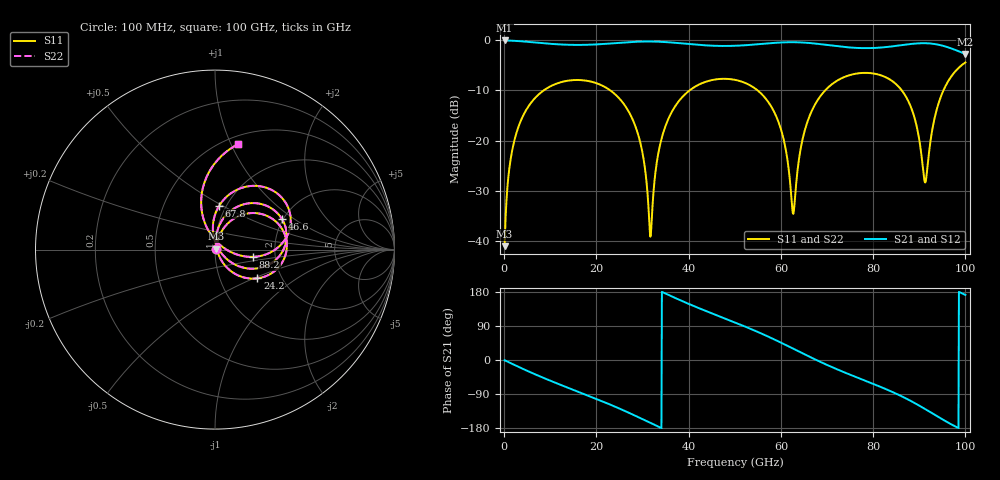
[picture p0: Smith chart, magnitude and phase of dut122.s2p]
! Touchstone file exported from HFSS 2026.1.0
!  File:  C:/ffzhzh/LocalFiles/Ansys_Project_Files/temp_train_TSV_RDL_122_1783637564_29156.aedt
!  Generated:  06:58:43 AM Jul 10, 2026
!  Design:  TSV_RDL
!  Project:  temp_train_TSV_RDL_122_1783637564_29156
! Variables:
!  h_bsmrdl = 3.29um
!  h_ox = 20um
!  h_rdl = 5um
!  h_sub = 83.32um
!  h_tmrdl = 4.33um
!  h_tsv = 83.32um
!  h_via = 3um
!  l_bsmrdl = 126.83um
!  l_sub = 1567.1um
!  l_tmrdl = 169.72um
!  m_sub = 200um
!  pitch = 42.46um
!  r_tsv = 8.81um
!  s_tmrdl = 10um
!  w_bsmrdl = 21.2um
!  w_sub = 500um
!  w_tmrdl = 14.71um
!  x_tsv_center1 = 177.075um
!  x_tsv_center2 = 325.105um
!  x_tsv_center3 = 509.535um
!  x_tsv_center4 = 657.565um
!  x_tsv_center5 = 841.995um
!  x_tsv_center6 = 990.025um
# GHz S MA R 50.000000
! Terminal data exported
! Port[1] = TM_RDL1_1_T1
! Port[2] = TM_RDL5_1_T1
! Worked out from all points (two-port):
!   1000 points, 100 MHz to 100 GHz, reference 50 ohm
!   highest |S21| = -0.06 dB at 100 MHz (marker M1); lowest = -2.8 dB at 100 GHz (marker M2)
!   |S21| within 3 dB of the highest: start of sweep to end of sweep
!   lowest |S11| = -41.0 dB at 100 MHz (marker M3), VSWR 1.02, Z = 50.7 + j0.499 ohm
!   |S11| at or under -10 dB: 23.01 GHz to 40.21 GHz (17.19 GHz wide, 54.4 % of centre); 54.95 GHz to 69.6 GHz (14.65 GHz wide, 23.5 % of centre); 86.21 GHz to 95.24 GHz (9.035 GHz wide, 9.96 % of centre) (the widest 3 of 4)
!   |S22| runs from -41.0 to -4.4 dB; largest |S21 - S12| = 9e-12
!   S11 on the Smith chart (normalised r, x): 100 MHz: 1.01, +0.01; 24.2 GHz: 1.51, -0.53; 46.6 GHz: 1.98, +0.80; 67.8 GHz: 0.93, +0.48; 88.2 GHz: 1.53, -0.13; 100 GHz: 0.58, +1.06
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0.1  0.008926 33.4  0.9926 -0.6  0.9926 -0.6  0.008926 33.4
! Gamma 0 0 0 0
! Port Impedance 50 0 50 0
1.6  0.07382 72.7  0.9872 -9.4  0.9872 -9.4  0.07382 72.7
4.3  0.1843 61.1  0.9692 -24.7  0.9692 -24.7  0.1843 61.1
16.8  0.3999 1.0  0.8966 -87.3  0.8966 -87.3  0.3999 1.0
24.2  0.2854 -34.2  0.9348 -123.9  0.9348 -123.9  0.2854 -34.1
29.2  0.1088 -57.5  0.9656 -151.4  0.9656 -151.4  0.1088 -57.4
31.7  0.01107 7.9  0.969 -165.8  0.969 -165.8  0.01116 8.2
33.4  0.0739 84.4  0.9649 -175.6  0.9649 -175.6  0.07397 84.3
38  0.2515 65.3  0.9329 158.7  0.9329 158.7  0.2515 65.3
46.6  0.4105 24.3  0.8759 115.5  0.8759 115.5  0.4106 24.3
50.1  0.4023 8.2  0.879 98.7  0.879 98.7  0.4023 8.3
58.7  0.1866 -32.6  0.94 53.5  0.94 53.5  0.1867 -32.5
60.9  0.08888 -38.8  0.9515 40.6  0.9515 40.6  0.089 -38.7
62.6  0.01898 18.4  0.9537 30.3  0.9537 30.3  0.01925 18.3
66.7  0.198 89.7  0.9317 5.7  0.9317 5.7  0.1979 89.6
67.8  0.2461 84.5  0.9204 -0.6  0.9204 -0.6  0.2461 84.5
74.6  0.444 51.6  0.8474 -36.8  0.8474 -36.8  0.444 51.5
83.4  0.4119 11.3  0.8589 -80.1  0.8589 -80.1  0.412 11.3
88.2  0.2152 -10.8  0.916 -108.3  0.916 -108.3  0.2152 -10.9
91.3  0.03834 51.0  0.9319 -129.6  0.9319 -129.6  0.03826 51.0
94.5  0.2599 107.2  0.8932 -152.9  0.8932 -152.9  0.2598 107.2
100  0.6004 77.7  0.7271 171.7  0.7271 171.7  0.6004 77.7
